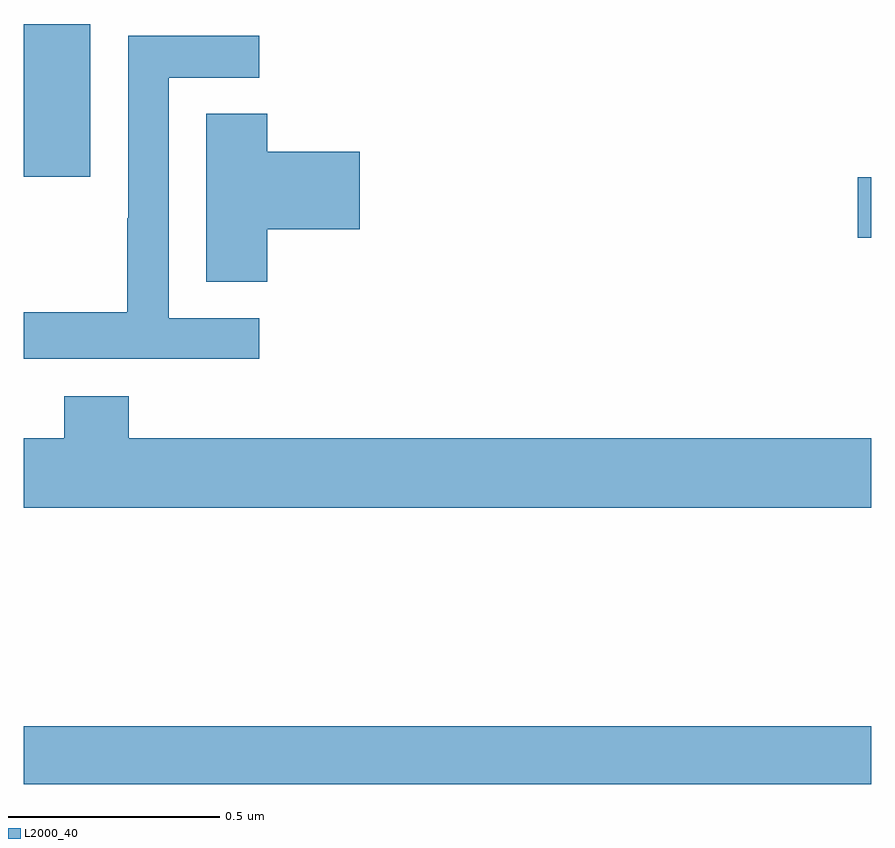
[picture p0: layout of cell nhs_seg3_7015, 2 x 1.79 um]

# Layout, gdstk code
import gdstk
lib = gdstk.Library(unit=1e-6, precision=1e-09)
def R(c, l, rs):  # rectangles x0, y0, x1, y1
    for r in rs: c.add(gdstk.rectangle(r[:2], r[2:], *l))
def P(c, l, *ps):  # polygons
    for p in ps: c.add(gdstk.Polygon(p, *l))
L2000_40 = (2000, 40)

nhs_seg3_7015 = lib.new_cell('nhs_seg3_7015')
R(nhs_seg3_7015, L2000_40, [(198,713.584,200,713.72), (199.968,714.874,200,715.016), (198,715.017,198.157,715.378)])
P(nhs_seg3_7015, L2000_40, [(198.556,714.684),(198.342,714.684),(198.342,715.251),(198.556,715.251),(198.556,715.35),(198.246,715.35),(198.246,714.92),(198.244,714.92),(198.244,714.697),(198,714.697),(198,714.588),(198.556,714.588)],
  [(198.575,714.893),(198.793,714.893),(198.793,715.076),(198.575,715.076),(198.575,715.166),(198.431,715.166),(198.431,714.769),(198.575,714.769)],
  [(200,714.4),(198.248,714.4),(198.248,714.499),(198.095,714.499),(198.095,714.4),(198,714.4),(198,714.236),(200,714.236)])

lib.write_gds('nhs_seg3_7015.gds')
